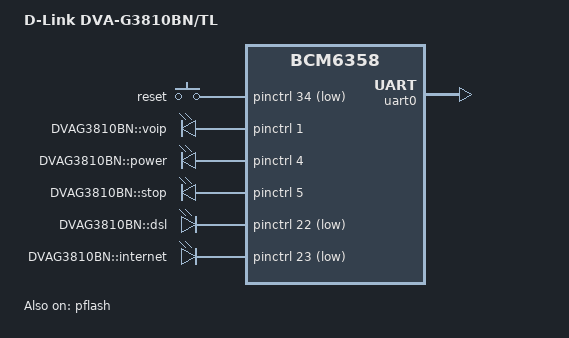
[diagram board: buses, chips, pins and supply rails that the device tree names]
/dts-v1/;

#include "bcm6358.dtsi"

#include <dt-bindings/input/input.h>

/ {
	model = "D-Link DVA-G3810BN/TL";
	compatible = "d-link,dva-g3810bn/tl", "brcm,bcm6358";

	chosen {
		bootargs = "rootfstype=squashfs,jffs2 noinitrd console=ttyS0,115200";
		stdout-path = "serial0:115200n8";
	};

	gpio-keys-polled {
		compatible = "gpio-keys-polled";
		#address-cells = <1>;
		#size-cells = <0>;
		poll-interval = <20>;
		debounce-interval = <60>;

		reset {
			label = "reset";
			gpios = <&pinctrl 34 1>;
			linux,code = <KEY_RESTART>;
		};
	};

	gpio-leds {
		compatible = "gpio-leds";

		voip {
			label = "DVAG3810BN::voip";
			gpios = <&pinctrl 1 0>;
		};
		power {
			label = "DVAG3810BN::power";
			gpios = <&pinctrl 4 0>;
			default-state = "on";
		};
		stop {
			label = "DVAG3810BN::stop";
			gpios = <&pinctrl 5 0>;
		};
		dsl {
			label = "DVAG3810BN::dsl";
			gpios = <&pinctrl 22 1>;
		};
		inet {
			label = "DVAG3810BN::internet";
			gpios = <&pinctrl 23 1>;
		};
	};
};

&pflash {
	status = "ok";

	partitions {
		compatible = "fixed-partitions";
		#address-cells = <1>;
		#size-cells = <1>;

		cfe@0 {
			label = "CFE";
			reg = <0x000000 0x010000>;
			read-only;
		};

		linux@10000 {
			label = "linux";
			reg = <0x010000 0x7e0000>;
			compatible = "brcm,bcm963xx-imagetag";
		};

		nvram@7f0000 {
			label = "nvram";
			reg = <0x7f0000 0x010000>;
		};
	};
};

&uart0 {
	status = "ok";
};
